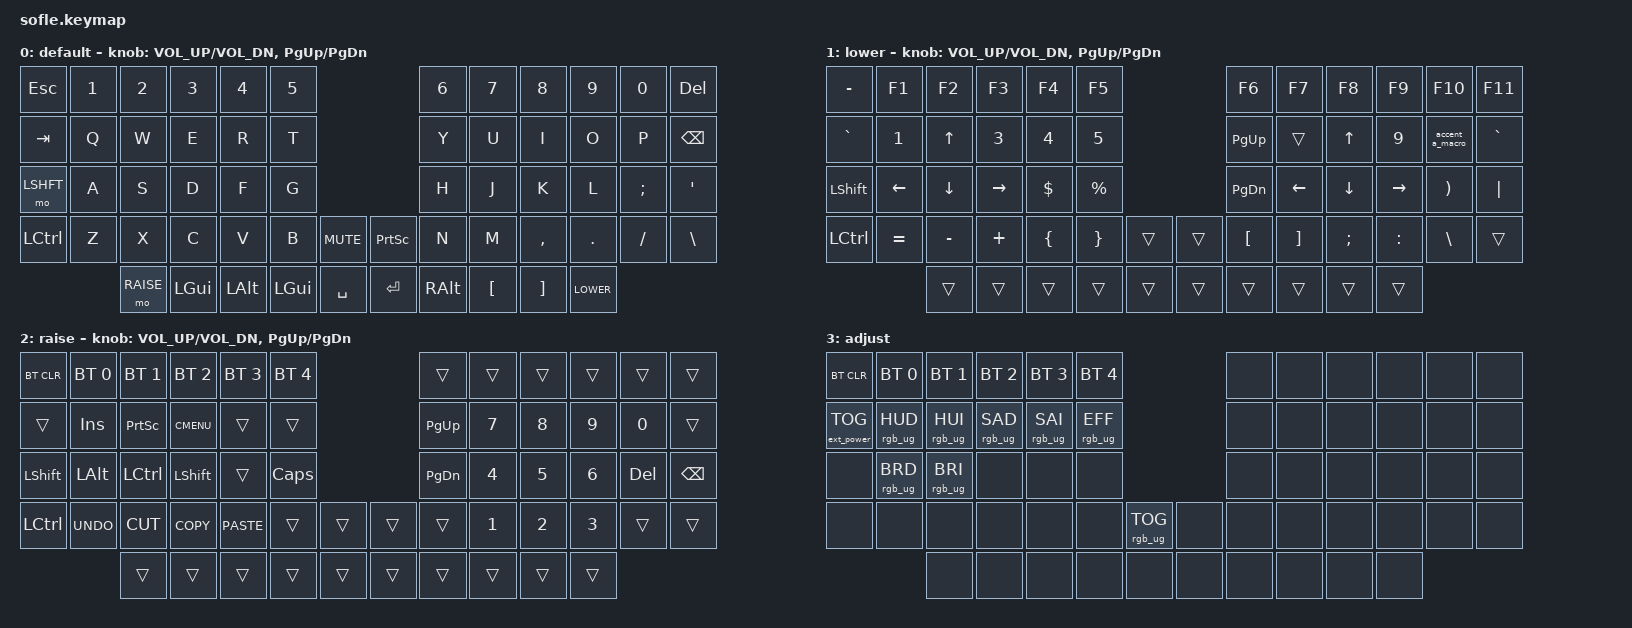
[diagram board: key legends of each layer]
/*
 * Copyright (c) 2020 The ZMK Contributors
 *
 * SPDX-License-Identifier: MIT
 */

#include <behaviors.dtsi>
#include <dt-bindings/zmk/keys.h>
#include <dt-bindings/zmk/bt.h>
#include <dt-bindings/zmk/rgb.h>
#include <dt-bindings/zmk/ext_power.h>

#define BASE 0
#define LOWER 1
#define RAISE 2
#define ADJUST 3





/ {
   macros {
       accent_a_macro: macro {
           compatible = "zmk,behavior-macro";
           label = "accented_a";
           #binding-cells = <0>;
           bindings = <&kp NON_US_HASH>, <&kp A>;
       };
    };

   
   // Activate ADJUST layer by pressing raise and lower
    conditional_layers {
        compatible = "zmk,conditional-layers";
        adjust_layer {
            if-layers = <LOWER RAISE>;
            then-layer = <ADJUST>;
        };
    };
    
    combos {
        compatible = "zmk,combos";

        accent_a_combo {
            bindings = <&accent_a_macro>;
            key-positions = <20 13>;
        };
    };

    keymap {
        compatible = "zmk,keymap";

        default_layer {
            display-name = "default";
// ------------------------------------------------------------------------------------------------------------
// |   `   |  1  |  2  |  3   |  4   |  5   |                   |  6   |  7    |  8    |  9   |   0   |       |
// |  ESC  |  Q  |  W  |  E   |  R   |  T   |                   |  Y   |  U    |  I    |  O   |   P   | BKSPC |
// |  SHIFT  |  A  |  S  |  D   |  F   |  G   |                   |  H   |  J    |  K    |  L   |   ;   |   '   |
// | CTRL |  Z  |  X  |  C   |  V   |  B   |  MUTE  |  |   PSCR    |  N   |  M    |  ,    |  .   |   /   | SHIFT |
//               | GUI | ALT  | CTRL | LOWER| SPACE  |  |  ENTER | RAISE| CTRL  | ALT   | GUI  |
            bindings = <
&kp ESC &kp N1 &kp N2   &kp N3   &kp N4    &kp N5                           &kp N6 &kp N7    &kp N8    &kp N9   &kp N0   &kp DEL   
&kp TAB   &kp Q  &kp W    &kp E    &kp R     &kp T                            &kp Y  &kp U     &kp I     &kp O    &kp P   &kp BSPC
&mo LSHFT   &kp A  &kp S    &kp D    &kp F     &kp G                            &kp H  &kp J     &kp K     &kp L    &kp SEMI &kp SQT
&kp LCTRL &kp Z  &kp X    &kp C    &kp V     &kp B     &kp C_MUTE    &kp PSCRN      &kp N  &kp M     &kp COMMA &kp DOT  &kp FSLH &kp BSLH
                 &mo RAISE &kp LGUI &kp LALT  &kp LGUI   &kp SPACE    &kp RET  &kp RALT  &kp LBKT &kp RBKT  &kp LOWER
            >;

            sensor-bindings = <&inc_dec_kp C_VOL_UP C_VOL_DN &inc_dec_kp PG_UP PG_DN>;
        };

        lower_layer {
            display-name = "lower";
// TODO: Some binds are waiting for shifted keycode support.
// ------------------------------------------------------------------------------------------------------------
// |       |  F1 |  F2 |  F3  |  F4  |  F5  |                   |  F6  |  F7   |  F8   |  F9  |  F10  |  F11  |
// |   `   |  1  |  2  |  3   |  4   |  5   |                   |  6   |  7    |  8    |  9   |   0   |  DEL  |
// |       |  !  |  @  |  #   |  $   |  %   |                   |  ^   |  &    |  *    |  (   |   )   |   |   |
// |       |  =  |  -  |  +   |  {   |  }   |        |  |       |  [   |  ]    |  ;    |  :   |   \   |       |
//               |     |      |      |      |        |  |       |      |       |       |      |
            bindings = <
&kp MINUS    &kp F1    &kp F2    &kp F3      &kp F4    &kp F5                    &kp F6    &kp F7   &kp F8    &kp F9    &kp F10   &kp F11
&kp GRAVE &kp N1    &kp UP    &kp N3      &kp N4    &kp N5                    &kp PG_UP &trans    &kp UP    &kp N9    &accent_a_macro    &kp GRAVE
&kp LSHFT    &kp LEFT  &kp DOWN    &kp RIGHT    &kp DLLR  &kp PRCNT                 &kp PG_DN &kp LEFT  &kp DOWN &kp RIGHT  &kp RPAR  &kp PIPE
&kp LCTRL    &kp EQUAL &kp MINUS &kp PLUS &kp LBRC  &kp RBRC   &trans &trans  &kp LBKT  &kp RBKT &kp SEMI  &kp COLON &kp BSLH  &trans
                    &trans    &trans      &trans    &trans     &trans &trans  &trans    &trans   &trans    &trans
            >;

            sensor-bindings = <&inc_dec_kp C_VOL_UP C_VOL_DN &inc_dec_kp PG_UP PG_DN>;
        };

        raise_layer {
            display-name = "raise";
// ------------------------------------------------------------------------------------------------------------
// | BTCLR | BT1  | BT2  |  BT3  |  BT4  |  BT5 |                |      |      |       |      |       |       |
// |       | INS  | PSCR | GUI   |       |      |                | PGUP |      |   ^   |      |       |       |
// |       | ALT  | CTRL | SHIFT |       | CAPS |                | PGDN |   <- |   v   |  ->  |  DEL  | BKSPC |
// |       | UNDO | CUT  | COPY  | PASTE |      |      |  |      |      |      |       |      |       |       |
//                |      |       |       |      |      |  |      |      |      |       |      |
            bindings = <
&bt BT_CLR &bt BT_SEL 0 &bt BT_SEL 1 &bt BT_SEL 2 &bt BT_SEL 3 &bt BT_SEL 4                  &trans    &trans    &trans   &trans    &trans  &trans
&trans     &kp INS      &kp PSCRN    &kp K_CMENU  &trans       &trans                        &kp PG_UP &kp N7    &kp N8   &kp N9     &kp N0  &trans
&kp LSHFT     &kp LALT     &kp LCTRL    &kp LSHFT    &trans       &kp CLCK                      &kp PG_DN &kp N4    &kp N5   &kp N6     &kp DEL &kp BSPC
&kp LCTRL     &kp K_UNDO   &kp K_CUT    &kp K_COPY   &kp K_PASTE  &trans        &trans  &trans  &trans    &kp N1    &kp N2   &kp N3    &trans  &trans
                        &trans       &trans       &trans       &trans        &trans  &trans  &trans    &trans    &trans   &trans
            >;

            sensor-bindings = <&inc_dec_kp C_VOL_UP C_VOL_DN &inc_dec_kp PG_UP PG_DN>;
        };

        adjust_layer {
// ----------------------------------------------------------------------------------------------------------------------------
// | BTCLR  |  BT1    |  BT2    |   BT3   |   BT4   |   BT5   |                  |      |      |       |      |       |       |
// | EXTPWR | RGB_HUD | RGB_HUI | RGB_SAD | RGB_SAI | RGB_EFF |                  |      |      |       |      |       |       |
// |        | RGB_BRD | RGB_BRI |         |         |         |                  |      |      |       |      |       |       |
// |        |         |         |         |         |         | RGB_TOG | |      |      |      |       |      |       |       |
//                    |         |         |         |         |         | |      |      |      |       |      |
            display-name = "adjust";
            bindings = <
&bt BT_CLR        &bt BT_SEL 0    &bt BT_SEL 1    &bt BT_SEL 2    &bt BT_SEL 3    &bt BT_SEL 4                            &none &none &none &none &none &none
&ext_power EP_TOG &rgb_ug RGB_HUD &rgb_ug RGB_HUI &rgb_ug RGB_SAD &rgb_ug RGB_SAI &rgb_ug RGB_EFF                         &none &none &none &none &none &none
&none             &rgb_ug RGB_BRD &rgb_ug RGB_BRI &none           &none           &none                                   &none &none &none &none &none &none
&none             &none           &none           &none           &none           &none            &rgb_ug RGB_TOG &none  &none &none &none &none &none &none
                                  &none           &none           &none           &none            &none           &none  &none &none &none &none
            >;
        };

    };
};
